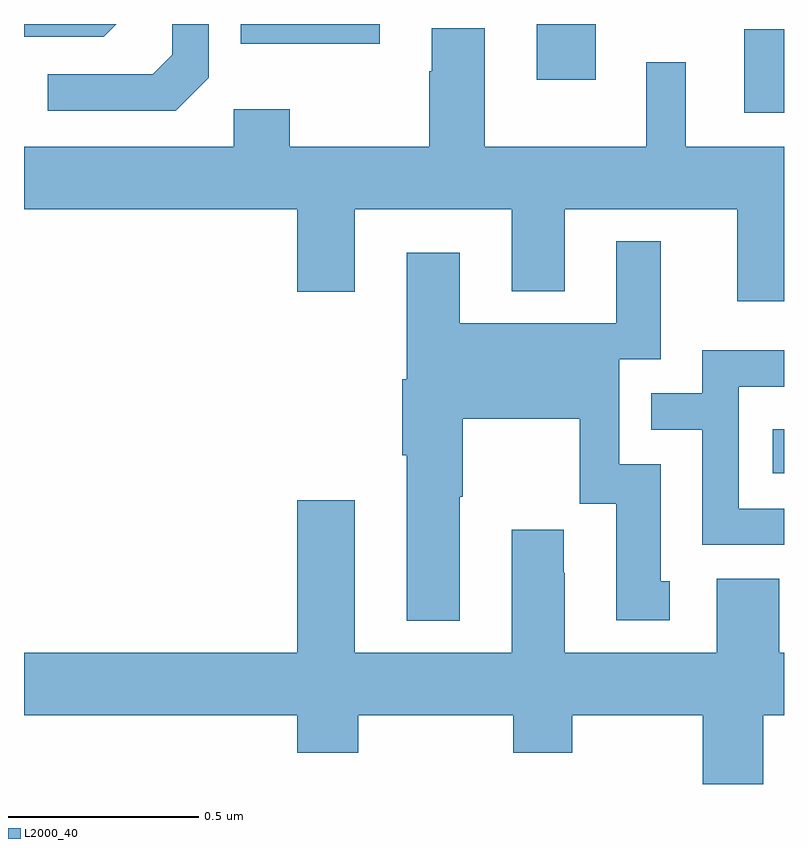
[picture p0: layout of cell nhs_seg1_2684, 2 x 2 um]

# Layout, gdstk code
import gdstk
lib = gdstk.Library(unit=1e-6, precision=1e-09)
def R(c, l, rs):  # rectangles x0, y0, x1, y1
    for r in rs: c.add(gdstk.rectangle(r[:2], r[2:], *l))
def P(c, l, *ps):  # polygons
    for p in ps: c.add(gdstk.Polygon(p, *l))
L2000_40 = (2000, 40)

nhs_seg1_2684 = lib.new_cell('nhs_seg1_2684')
R(nhs_seg1_2684, L2000_40, [(145.971,571.017,146,571.132), (145.895,571.965,146,572.185), (145.349,572.052,145.504,572.199), (144.571,572.147,144.936,572.199)])
P(nhs_seg1_2684, L2000_40, [(144.243,572.199),(144,572.199),(144,572.166),(144.21,572.166)],
  [(144.486,572.058),(144.486,572.199),(144.39,572.199),(144.39,572.118),(144.339,572.067),(144.063,572.067),(144.063,571.971),(144.399,571.971)],
  [(144.719,571.494),(144.871,571.494),(144.871,571.712),(145.283,571.712),(145.283,571.496),(145.423,571.496),(145.423,571.712),(145.877,571.712),(145.877,571.47),(146,571.47),(146,571.876),(145.741,571.876),(145.741,572.098),(145.637,572.098),(145.637,571.876),(145.213,571.876),(145.213,572.188),(145.073,572.188),(145.073,572.075),(145.066,572.075),(145.066,571.876),(144.699,571.876),(144.699,571.975),(144.552,571.975),(144.552,571.876),(144,571.876),(144,571.712),(144.719,571.712)],
  [(145.147,570.955),(145.155,570.955),(145.155,571.16),(145.463,571.16),(145.463,570.936),(145.559,570.936),(145.559,570.63),(145.699,570.63),(145.699,570.732),(145.675,570.732),(145.675,571.041),(145.566,571.041),(145.566,571.317),(145.675,571.317),(145.675,571.627),(145.559,571.627),(145.559,571.411),(145.147,571.411),(145.147,571.597),(145.007,571.597),(145.007,571.264),(144.995,571.264),(144.995,571.064),(145.007,571.064),(145.007,570.629),(145.147,570.629)],
  [(146,570.924),(145.881,570.924),(145.881,571.245),(146,571.245),(146,571.341),(145.785,571.341),(145.785,571.227),(145.651,571.227),(145.651,571.131),(145.785,571.131),(145.785,570.828),(146,570.828)],
  [(145.946,570.38),(146,570.38),(146,570.544),(145.987,570.544),(145.987,570.739),(145.823,570.739),(145.823,570.544),(145.423,570.544),(145.423,570.755),(145.42,570.755),(145.42,570.868),(145.283,570.868),(145.283,570.544),(144.871,570.544),(144.871,570.946),(144.719,570.946),(144.719,570.544),(144,570.544),(144,570.38),(144.719,570.38),(144.719,570.281),(144.879,570.281),(144.879,570.38),(145.288,570.38),(145.288,570.281),(145.443,570.281),(145.443,570.38),(145.786,570.38),(145.786,570.199),(145.946,570.199)])

lib.write_gds('nhs_seg1_2684.gds')
